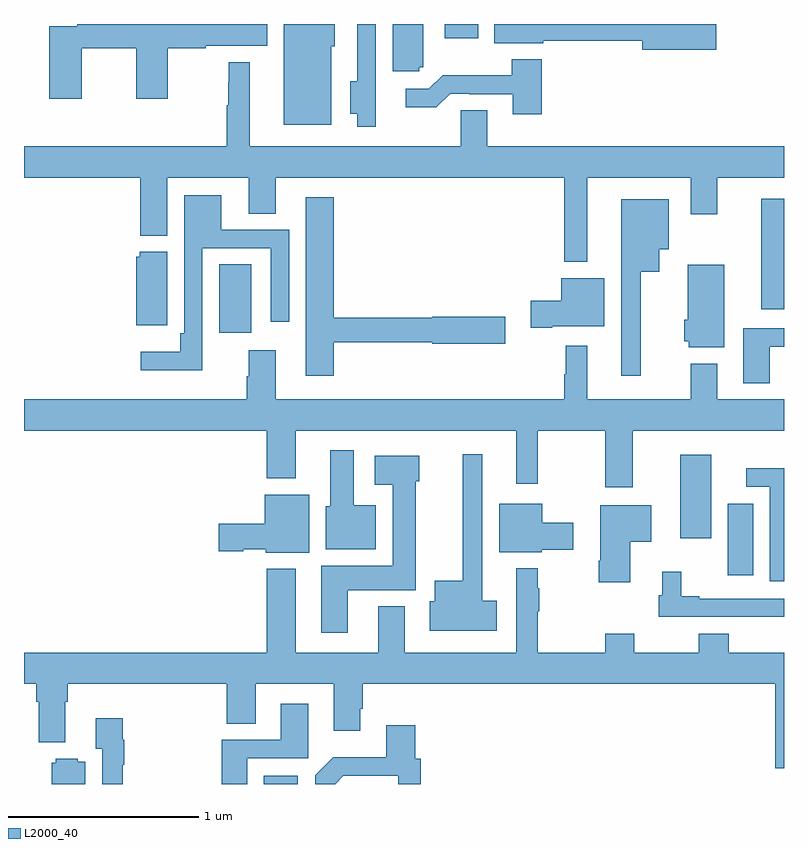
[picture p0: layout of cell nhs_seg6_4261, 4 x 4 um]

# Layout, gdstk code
import gdstk
lib = gdstk.Library(unit=1e-6, precision=1e-09)
def R(c, l, rs):  # rectangles x0, y0, x1, y1
    for r in rs: c.add(gdstk.rectangle(r[:2], r[2:], *l))
def P(c, l, *ps):  # polygons
    for p in ps: c.add(gdstk.Polygon(p, *l))
L2000_40 = (2000, 40)

nhs_seg6_4261 = lib.new_cell('nhs_seg6_4261')
R(nhs_seg6_4261, L2000_40, [(364.262,921.5,364.441,921.544), (366.704,922.599,366.838,922.975), (366.455,922.794,366.616,923.233), (364.028,923.874,364.195,924.236), (366.881,923.999,367,924.58), (365.214,925.424,365.391,925.5)])
P(nhs_seg6_4261, L2000_40, [(364.852,925.182),(364.851,925.182),(364.851,925.5),(364.755,925.5),(364.755,925.199),(364.718,925.199),(364.718,925.028),(364.754,925.028),(364.754,924.96),(364.852,924.96)],
  [(363.304,925.372),(363.59,925.372),(363.59,925.107),(363.756,925.107),(363.756,925.372),(363.956,925.372),(363.956,925.385),(364.279,925.385),(364.279,925.5),(363.28,925.5),(363.28,925.488),(363.134,925.488),(363.134,925.107),(363.304,925.107)],
  [(365.079,925.272),(365.101,925.272),(365.101,925.5),(364.94,925.5),(364.94,925.251),(365.079,925.251)],
  [(364.618,925.383),(364.636,925.383),(364.636,925.5),(364.367,925.5),(364.367,924.971),(364.618,924.971)],
  [(366.643,925.5),(365.476,925.5),(365.476,925.4),(365.734,925.4),(365.734,925.411),(366.254,925.411),(366.254,925.364),(366.643,925.364)],
  [(365.726,925.315),(365.566,925.315),(365.566,925.231),(365.203,925.231),(365.13,925.158),(365.01,925.158),(365.01,925.061),(365.171,925.061),(365.244,925.134),(365.344,925.134),(365.344,925.131),(365.573,925.131),(365.573,925.026),(365.726,925.026)],
  [(365.965,924.692),(366.509,924.692),(366.509,924.498),(366.649,924.498),(366.649,924.692),(367,924.692),(367,924.856),(365.437,924.856),(365.437,925.046),(365.298,925.046),(365.298,924.856),(364.189,924.856),(364.189,925.3),(364.078,925.3),(364.078,925.193),(364.075,925.193),(364.075,925.073),(364.068,925.073),(364.068,924.856),(363,924.856),(363,924.692),(363.611,924.692),(363.611,924.386),(363.754,924.386),(363.754,924.692),(364.184,924.692),(364.184,924.502),(364.324,924.502),(364.324,924.692),(365.844,924.692),(365.844,924.248),(365.965,924.248)],
  [(363.939,924.321),(364.299,924.321),(364.299,923.934),(364.395,923.934),(364.395,924.417),(364.039,924.417),(364.039,924.598),(363.843,924.598),(363.843,923.872),(363.823,923.872),(363.823,923.776),(363.615,923.776),(363.615,923.678),(363.939,923.678)],
  [(364.631,923.826),(365.148,923.826),(365.148,923.818),(365.533,923.818),(365.533,923.96),(365.148,923.96),(365.148,923.954),(364.631,923.954),(364.631,924.589),(364.484,924.589),(364.484,923.649),(364.631,923.649)],
  [(366.247,924.197),(366.343,924.197),(366.343,924.314),(366.394,924.314),(366.394,924.577),(366.143,924.577),(366.143,923.649),(366.247,923.649)],
  [(363.754,924.301),(363.609,924.301),(363.609,924.276),(363.59,924.276),(363.59,923.915),(363.754,923.915)],
  [(366.685,924.232),(366.494,924.232),(366.494,923.943),(366.476,923.943),(366.476,923.829),(366.498,923.829),(366.498,923.798),(366.685,923.798)],
  [(365.779,923.909),(366.055,923.909),(366.055,924.163),(365.828,924.163),(365.828,924.044),(365.667,924.044),(365.667,923.902),(365.779,923.902)],
  [(366.925,923.802),(367,923.802),(367,923.898),(366.785,923.898),(366.785,923.61),(366.925,923.61)],
  [(366.205,923.36),(367,923.36),(367,923.524),(366.649,923.524),(366.649,923.713),(366.509,923.713),(366.509,923.524),(365.965,923.524),(365.965,923.806),(365.851,923.806),(365.851,923.657),(365.844,923.657),(365.844,923.524),(364.324,923.524),(364.324,923.782),(364.184,923.782),(364.184,923.645),(364.172,923.645),(364.172,923.524),(363,923.524),(363,923.36),(364.277,923.36),(364.277,923.108),(364.429,923.108),(364.429,923.36),(365.591,923.36),(365.591,923.079),(365.705,923.079),(365.705,923.36),(366.058,923.36),(366.058,923.061),(366.205,923.061)],
  [(364.852,922.966),(364.735,922.966),(364.735,923.257),(364.613,923.257),(364.613,922.962),(364.589,922.962),(364.589,922.736),(364.852,922.736)],
  [(365.488,922.465),(365.413,922.465),(365.413,923.236),(365.309,923.236),(365.309,922.57),(365.162,922.57),(365.162,922.461),(365.135,922.461),(365.135,922.307),(365.488,922.307)],
  [(364.705,922.52),(365.062,922.52),(365.062,923.094),(365.08,923.094),(365.08,923.227),(364.845,923.227),(364.845,923.075),(364.94,923.075),(364.94,922.648),(364.565,922.648),(364.565,922.296),(364.705,922.296)],
  [(367,923.162),(366.801,923.162),(366.801,923.064),(366.926,923.064),(366.926,922.566),(367,922.566)],
  [(364.501,923.023),(364.268,923.023),(364.268,922.871),(364.026,922.871),(364.026,922.724),(364.155,922.724),(364.155,922.736),(364.272,922.736),(364.272,922.718),(364.501,922.718)],
  [(365.724,922.733),(365.89,922.733),(365.89,922.875),(365.728,922.875),(365.728,922.975),(365.501,922.975),(365.501,922.721),(365.724,922.721)],
  [(366.19,922.775),(366.301,922.775),(366.301,922.966),(366.032,922.966),(366.032,922.675),(366.025,922.675),(366.025,922.563),(366.19,922.563)],
  [(367,922.192),(366.71,922.192),(366.71,922.291),(366.55,922.291),(366.55,922.192),(366.213,922.192),(366.213,922.291),(366.058,922.291),(366.058,922.192),(365.705,922.192),(365.705,922.409),(365.713,922.409),(365.713,922.529),(365.705,922.529),(365.705,922.636),(365.591,922.636),(365.591,922.192),(365.005,922.192),(365.005,922.435),(364.865,922.435),(364.865,922.192),(364.429,922.192),(364.429,922.633),(364.277,922.633),(364.277,922.192),(363,922.192),(363,922.028),(363.065,922.028),(363.065,921.932),(363.077,921.932),(363.077,921.719),(363.217,921.719),(363.217,921.932),(363.23,921.932),(363.23,922.028),(364.067,922.028),(364.067,921.817),(364.219,921.817),(364.219,922.028),(364.631,922.028),(364.631,921.78),(364.771,921.78),(364.771,921.895),(364.784,921.895),(364.784,922.028),(366.954,922.028),(366.954,921.584),(367,921.584)],
  [(367,922.476),(366.553,922.476),(366.553,922.489),(366.459,922.489),(366.459,922.618),(366.359,922.618),(366.359,922.494),(366.34,922.494),(366.34,922.38),(367,922.38)],
  [(364.174,921.636),(364.495,921.636),(364.495,921.922),(364.352,921.922),(364.352,921.732),(364.04,921.732),(364.04,921.5),(364.174,921.5)],
  [(363.52,921.602),(363.527,921.602),(363.527,921.734),(363.52,921.734),(363.52,921.847),(363.377,921.847),(363.377,921.686),(363.411,921.686),(363.411,921.5),(363.52,921.5)],
  [(364.68,921.543),(364.971,921.543),(364.971,921.5),(365.087,921.5),(365.087,921.633),(365.06,921.633),(365.06,921.808),(364.907,921.808),(364.907,921.64),(364.627,921.64),(364.533,921.546),(364.533,921.5),(364.637,921.5)],
  [(363.322,921.616),(363.282,921.616),(363.282,921.634),(363.168,921.634),(363.168,921.612),(363.146,921.612),(363.146,921.5),(363.322,921.5)])

lib.write_gds('nhs_seg6_4261.gds')
